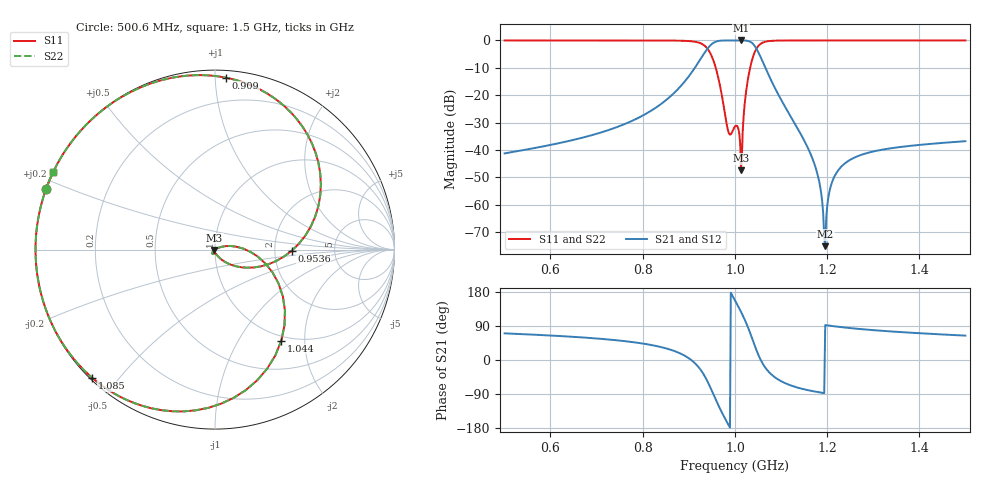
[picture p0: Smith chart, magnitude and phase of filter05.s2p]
# HZ S RI R 50.000000
! FREQ(HZ)  reS11  imS11  reS21  imS21  reS12  imS12  reS22  imS22
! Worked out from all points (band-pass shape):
!   597 points, 500.6 MHz to 1.5 GHz, reference 50 ohm
!   highest |S21| = 0.00 dB at 1.013 GHz (marker M1); lowest = -75.1 dB at 1.196 GHz (marker M2)
!   |S21| within 3 dB of the highest: 940.6 MHz to 1.047 GHz (106.1 MHz wide, 10.7 % of centre)
!   lowest |S11| = -47.4 dB at 1.013 GHz (marker M3), VSWR 1.01, Z = 49.7 - j0.254 ohm
!   |S11| at or under -10 dB: 958.4 MHz to 1.033 GHz (74.6 MHz wide, 7.49 % of centre)
!   |S22| runs from -47.4 to 0.0 dB; largest |S21 - S12| = 0
!   S11 on the Smith chart (normalised r, x): 500.6 MHz: 0.00, +0.17; 909 MHz: 0.04, +1.07; 953.6 MHz: 2.49, -0.05; 1.044 GHz: 0.93, -1.55; 1.085 GHz: 0.01, -0.43; 1.5 GHz: 0.00, +0.23
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5.005684e8  -0.9415 0.337  0.00292 0.00815  0.00292 0.00815  -0.9415 0.337
6.671306e8  -0.8635 0.504  0.00836 0.0143  0.00836 0.0143  -0.8635 0.504
8.3516e8  -0.5785 0.8131  0.0527 0.0375  0.0527 0.0375  -0.5785 0.8131
9.089797e8  0.0616 0.9577  0.2806 -0.0181  0.2806 -0.0181  0.0616 0.9577
9.361573e8  0.5609 0.5384  0.4355 -0.4537  0.4355 -0.4537  0.5609 0.5384
9.535543e8  0.4263 -0.00741  -0.0157 -0.9044  -0.0157 -0.9044  0.4263 -0.00741
9.659243e8  0.1457 -0.0984  -0.5509 -0.8159  -0.5509 -0.8159  0.1457 -0.0984
9.856878e8  0.00364 -0.0214  -0.9857 -0.1672  -0.9857 -0.1672  0.00364 -0.0214
1.000315e9  -0.0104 -0.0247  -0.9209 0.3888  -0.9209 0.3888  -0.0104 -0.0247
1.013291e9  -0.00339 -0.00255  -0.6018 0.7987  -0.6018 0.7987  -0.00339 -0.00255
1.026436e9  0.1567 0.00574  -0.0362 0.987  -0.0362 0.987  0.1567 0.00574
1.043588e9  0.3694 -0.5065  0.6294 0.4591  0.6294 0.4591  0.3694 -0.5065
1.059074e9  -0.1082 -0.8956  0.4284 -0.0518  0.4284 -0.0518  -0.1082 -0.8956
1.08473e9  -0.6846 -0.714  0.1059 -0.1016  0.1059 -0.1016  -0.6846 -0.714
1.167638e9  -0.99 -0.1407  0.00101 -0.0071  0.00101 -0.0071  -0.99 -0.1407
1.182786e9  -0.9965 -0.083  0.000222 -0.00266  0.000222 -0.00266  -0.9965 -0.083
1.191529e9  -0.9986 -0.0533  3.67e-05 -0.000688  3.67e-05 -0.000688  -0.9986 -0.0533
1.195925e9  -0.9992 -0.0391  -6.85e-06 0.000175  -6.85e-06 0.000175  -0.9992 -0.0391
1.206986e9  -1 -0.00572  -1.17e-05 0.00204  -1.17e-05 0.00204  -1 -0.00572
1.227155e9  -0.9988 0.0483  0.000222 0.00458  0.000222 0.00458  -0.9988 0.0483
1.335623e9  -0.9685 0.2488  0.00265 0.0103  0.00265 0.0103  -0.9685 0.2488
1.499901e9  -0.9013 0.4329  0.00627 0.013  0.00627 0.013  -0.9013 0.4329
